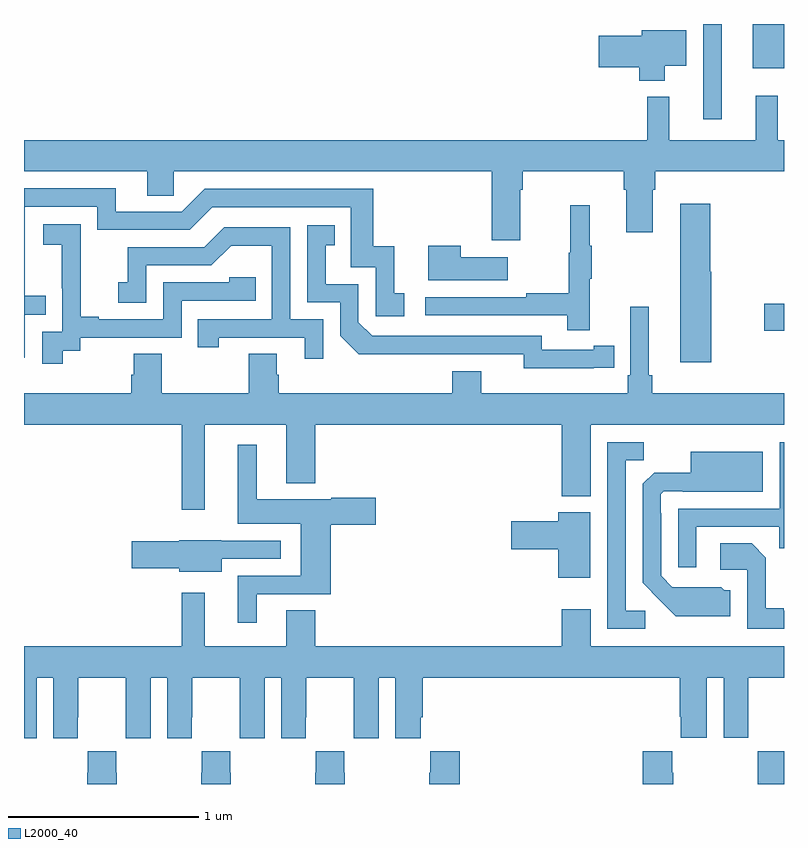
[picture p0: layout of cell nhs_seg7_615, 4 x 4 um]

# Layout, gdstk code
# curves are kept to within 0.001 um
import gdstk
lib = gdstk.Library(unit=1e-6, precision=1e-09)
def R(c, l, rs):  # rectangles x0, y0, x1, y1
    for r in rs: c.add(gdstk.rectangle(r[:2], r[2:], *l))
def P(c, l, *ps):  # polygons
    for p in ps: c.add(gdstk.Polygon(p, *l))
L2000_40 = (2000, 40)

nhs_seg7_615 = lib.new_cell('nhs_seg7_615')
R(nhs_seg7_615, L2000_40, [(160.861,1056,161,1056.172), (160.896,1058.386,161,1058.528), (160.575,1059.498,160.672,1060), (160.835,1059.767,161,1060)])
P(nhs_seg7_615, L2000_40, [(160.372,1059.779),(160.486,1059.779),(160.486,1059.967),(160.25,1059.967),(160.25,1059.937),(160.026,1059.937),(160.026,1059.772),(160.238,1059.772),(160.238,1059.701),(160.372,1059.701)],
  [(159.613,1059.128),(159.626,1059.128),(159.626,1059.224),(160.157,1059.224),(160.157,1059.128),(160.169,1059.128),(160.169,1058.904),(160.309,1058.904),(160.309,1059.128),(160.322,1059.128),(160.322,1059.224),(161,1059.224),(161,1059.388),(160.967,1059.388),(160.967,1059.622),(160.85,1059.622),(160.85,1059.388),(160.397,1059.388),(160.397,1059.616),(160.279,1059.616),(160.279,1059.388),(157,1059.388),(157,1059.224),(157.649,1059.224),(157.649,1059.097),(157.788,1059.097),(157.788,1059.224),(159.461,1059.224),(159.461,1058.862),(159.613,1058.862)],
  [(157.005,1058.469),(157.115,1058.469),(157.115,1058.57),(157.005,1058.57),(157.005,1059.039),(157.386,1059.039),(157.386,1058.916),(157.872,1058.916),(157.992,1059.036),(158.721,1059.036),(158.721,1058.721),(158.85,1058.721),(158.85,1058.463),(159.001,1058.463),(159.001,1058.583),(158.948,1058.583),(158.948,1058.83),(158.837,1058.83),(158.837,1059.132),(157.95,1059.132),(157.83,1059.012),(157.483,1059.012),(157.483,1059.135),(157,1059.135),(157,1058.244),(157.005,1058.244)],
  [(160.618,1058.697),(160.613,1058.697),(160.613,1059.055),(160.454,1059.055),(160.454,1058.22),(160.618,1058.22)],
  [(159.977,1058.659),(159.988,1058.659),(159.988,1058.833),(159.977,1058.833),(159.977,1059.046),(159.874,1059.046),(159.874,1058.796),(159.867,1058.796),(159.867,1058.582),(159.643,1058.582),(159.643,1058.562),(159.111,1058.562),(159.111,1058.466),(159.859,1058.466),(159.859,1058.388),(159.977,1058.388)],
  [(157.204,1058.281),(157.296,1058.281),(157.296,1058.349),(157.83,1058.349),(157.83,1058.544),(158.219,1058.544),(158.219,1058.667),(158.079,1058.667),(158.079,1058.64),(157.734,1058.64),(157.734,1058.445),(157.393,1058.445),(157.393,1058.458),(157.298,1058.458),(157.298,1058.741),(157.299,1058.741),(157.299,1058.947),(157.101,1058.947),(157.101,1058.837),(157.199,1058.837),(157.199,1058.609),(157.2,1058.609),(157.2,1058.379),(157.095,1058.379),(157.095,1058.211),(157.204,1058.211)],
  [(159.998,1058.19),(160.106,1058.19),(160.106,1058.306),(159.998,1058.306),(159.998,1058.286),(159.726,1058.286),(159.726,1058.358),(158.832,1058.358),(158.76,1058.43),(158.76,1058.631),(158.587,1058.631),(158.587,1058.835),(158.636,1058.835),(158.636,1058.941),(158.49,1058.941),(158.49,1058.535),(158.664,1058.535),(158.664,1058.358),(158.762,1058.261),(159.63,1058.262),(159.63,1058.189)],
  [(158.574,1058.445),(158.4,1058.445),(158.4,1058.931),(158.054,1058.931),(157.949,1058.826),(157.546,1058.826),(157.546,1058.641),(157.497,1058.641),(157.497,1058.532),(157.644,1058.532),(157.644,1058.73),(157.986,1058.73),(158.09,1058.834),(158.304,1058.834),(158.304,1058.445),(157.915,1058.445),(157.915,1058.298),(158.026,1058.298),(158.026,1058.349),(158.477,1058.349),(158.477,1058.238),(158.574,1058.238)],
  [(159.547,1058.773),(159.299,1058.773),(159.299,1058.833),(159.128,1058.833),(159.128,1058.651),(159.547,1058.651)],
  [(157.951,1057.892),(158.381,1057.892),(158.381,1057.583),(158.534,1057.583),(158.534,1057.892),(159.83,1057.892),(159.83,1057.514),(159.982,1057.514),(159.982,1057.892),(161,1057.892),(161,1058.056),(160.307,1058.056),(160.307,1058.152),(160.288,1058.152),(160.288,1058.512),(160.191,1058.512),(160.191,1058.152),(160.178,1058.152),(160.178,1058.056),(159.406,1058.056),(159.406,1058.173),(159.254,1058.173),(159.254,1058.056),(158.342,1058.056),(158.342,1058.154),(158.329,1058.154),(158.329,1058.264),(158.182,1058.264),(158.182,1058.056),(157.725,1058.056),(157.725,1058.264),(157.577,1058.264),(157.577,1058.154),(157.565,1058.154),(157.565,1058.056),(157,1058.056),(157,1057.892),(157.83,1057.892),(157.83,1057.443),(157.951,1057.443)],
  [(160.27,1056.912),(160.167,1056.912),(160.167,1057.705),(160.263,1057.705),(160.263,1057.8),(160.071,1057.8),(160.071,1056.816),(160.27,1056.816)],
  [(160.539,1057.353),(160.975,1057.353),(160.975,1057.24),(161,1057.24),(161,1057.8),(160.977,1057.8),(160.977,1057.449),(160.443,1057.449),(160.443,1057.14),(160.539,1057.14)],
  [(158.224,1056.999),(158.615,1056.999),(158.615,1057.364),(158.851,1057.364),(158.851,1057.506),(158.617,1057.506),(158.617,1057.498),(158.224,1057.498),(158.224,1057.786),(158.126,1057.786),(158.126,1057.37),(158.456,1057.37),(158.456,1057.095),(158.126,1057.095),(158.126,1056.849),(158.224,1056.849)],
  [(160.717,1057.02),(160.686,1057.02),(160.67,1057.036),(160.413,1057.035),(160.353,1057.095),(160.353,1057.424),(160.35,1057.424),(160.35,1057.524),(160.368,1057.542),(160.468,1057.542),(160.468,1057.538),(160.888,1057.538),(160.888,1057.75),(160.508,1057.75),(160.508,1057.639),(160.316,1057.639),(160.257,1057.58),(160.257,1057.058),(160.429,1056.884),(160.717,1056.884)],
  [(159.979,1057.429),(159.812,1057.429),(159.812,1057.382),(159.564,1057.382),(159.564,1057.235),(159.812,1057.235),(159.812,1057.086),(159.979,1057.086)],
  [(158.041,1057.185),(158.35,1057.185),(158.35,1057.281),(158.037,1057.281),(158.037,1057.282),(157.818,1057.282),(157.818,1057.277),(157.566,1057.277),(157.566,1057.135),(157.818,1057.135),(157.818,1057.118),(158.041,1057.118)],
  [(161,1056.912),(160.999,1056.912),(160.999,1056.925),(160.905,1056.925),(160.905,1057.192),(160.829,1057.268),(160.665,1057.268),(160.665,1057.128),(160.806,1057.128),(160.806,1056.816),(161,1056.816)],
  [(158.135,1056.352),(158.136,1056.352),(158.136,1056.24),(158.266,1056.24),(158.266,1056.56),(158.354,1056.56),(158.354,1056.24),(158.484,1056.24),(158.484,1056.352),(158.485,1056.352),(158.485,1056.56),(158.735,1056.56),(158.735,1056.352),(158.736,1056.352),(158.736,1056.24),(158.866,1056.24),(158.866,1056.56),(158.954,1056.56),(158.954,1056.24),(159.088,1056.24),(159.088,1056.352),(159.098,1056.352),(159.098,1056.56),(160.451,1056.56),(160.451,1056.355),(160.457,1056.355),(160.457,1056.243),(160.594,1056.243),(160.594,1056.56),(160.682,1056.56),(160.682,1056.243),(160.813,1056.243),(160.813,1056.56),(161,1056.56),(161,1056.724),(159.982,1056.724),(159.982,1056.919),(159.83,1056.919),(159.83,1056.724),(158.534,1056.724),(158.534,1056.914),(158.381,1056.914),(158.381,1056.724),(157.951,1056.724),(157.951,1057.006),(157.83,1057.006),(157.83,1056.724),(157,1056.724),(157,1056.24),(157.066,1056.24),(157.066,1056.56),(157.154,1056.56),(157.154,1056.24),(157.284,1056.24),(157.284,1056.352),(157.285,1056.352),(157.285,1056.56),(157.535,1056.56),(157.535,1056.352),(157.536,1056.352),(157.536,1056.24),(157.666,1056.24),(157.666,1056.56),(157.754,1056.56),(157.754,1056.24),(157.884,1056.24),(157.884,1056.352),(157.885,1056.352),(157.885,1056.56),(158.135,1056.56)],
  [(158.688,1056.059),(158.685,1056.059),(158.685,1056.172),(158.535,1056.172),(158.535,1056.059),(158.533,1056.059),(158.533,1056),(158.688,1056)],
  [(158.088,1056.059),(158.085,1056.059),(158.085,1056.172),(157.935,1056.172),(157.935,1056.059),(157.933,1056.059),(157.933,1056),(158.088,1056)],
  [(157.488,1056.059),(157.485,1056.059),(157.485,1056.172),(157.335,1056.172),(157.335,1056.059),(157.333,1056.059),(157.333,1056),(157.488,1056)],
  [(159.293,1056.172),(159.139,1056.172),(159.139,1056.059),(159.133,1056.059),(159.133,1056),(159.293,1056)],
  [(160.416,1056.059),(160.411,1056.059),(160.411,1056.172),(160.256,1056.172),(160.256,1056),(160.416,1056)])

lib.write_gds('nhs_seg7_615.gds')
